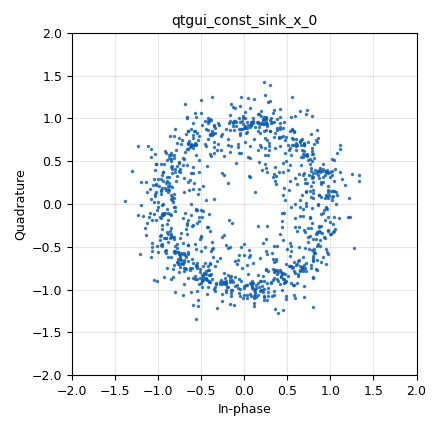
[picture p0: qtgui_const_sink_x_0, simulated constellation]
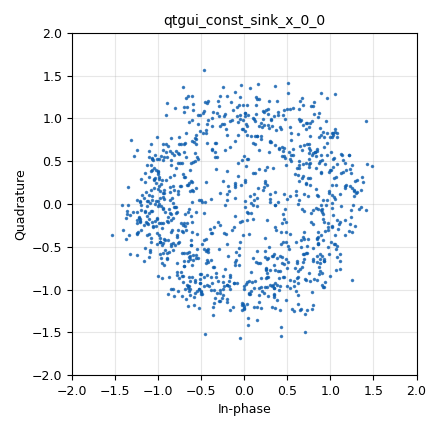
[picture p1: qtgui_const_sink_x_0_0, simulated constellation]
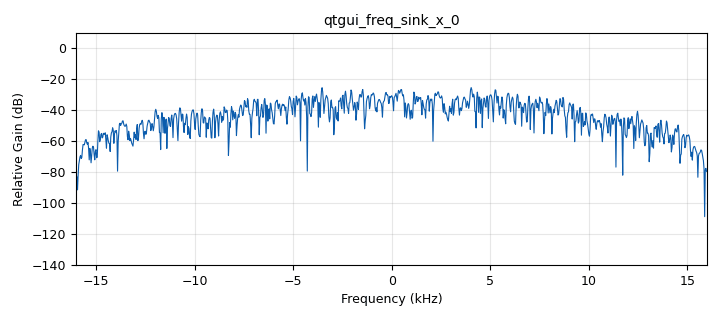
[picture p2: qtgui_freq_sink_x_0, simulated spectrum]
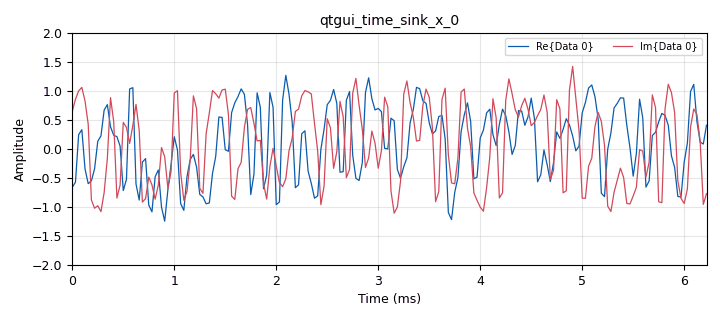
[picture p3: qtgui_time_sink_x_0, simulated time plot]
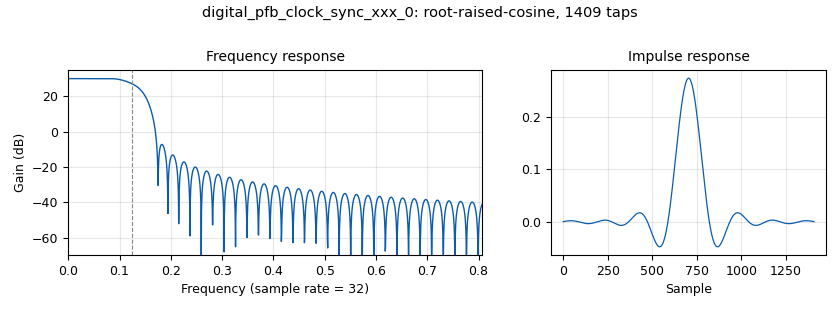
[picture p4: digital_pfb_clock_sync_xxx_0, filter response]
options:
  parameters:
    author: Barry Duggan
    category: Custom
    generate_options: qt_gui
    id: qpsk_stage3
    output_language: python
    title: qpsk_stage3
  states: {}

blocks:
- name: excess_bw
  id: variable
  parameters:
    value: '0.35'
  states: {}
- name: freq_offset
  id: variable_qtgui_range
  parameters:
    gui_hint: 0,2,1,1
    label: 'Channel: Frequency Offset'
    start: '-0.1'
    step: '0.001'
    stop: '0.1'
    value: '0.025'
  states: {}
- name: nfilts
  id: variable
  parameters:
    value: '32'
  states: {}
- name: noise_volt
  id: variable_qtgui_range
  parameters:
    gui_hint: 0,0,1,1
    label: 'Channel: Noise Voltage'
    start: '0'
    step: '0.01'
    stop: '1'
    value: '0.2'
  states: {}
- name: phase_bw
  id: variable
  parameters:
    value: '0.0628'
  states: {}
- name: qpsk
  id: variable_constellation_rect
  parameters:
    const_points: '[0.707+0.707j, -0.707+0.707j, -0.707-0.707j, 0.707-0.707j]'
    imag_sect: '2'
    real_sect: '2'
    rot_sym: '4'
    sym_map: '[0, 1, 2, 3]'
    w_imag_sect: '1'
    w_real_sect: '1'
  states: {}
- name: rrc_taps
  id: variable
  parameters:
    value: firdes.root_raised_cosine(nfilts, nfilts, 1.0/float(sps), 0.35, 11*sps*nfilts)
  states: {}
- name: samp_rate
  id: variable
  parameters:
    value: '32000'
  states: {}
- name: sps
  id: variable
  parameters:
    value: '4'
  states: {}
- name: time_offset
  id: variable_qtgui_range
  parameters:
    gui_hint: 0,1,1,1
    label: 'Channel: Timing Offset'
    start: '0.999'
    step: '0.0001'
    stop: '1.001'
    value: '1.0005'
  states: {}
- name: analog_random_source_x_0
  id: analog_random_source_x
  parameters:
    max: '256'
    min: '0'
    num_samps: '10000'
    repeat: 'True'
    type: byte
  states: {}
- name: blocks_throttle2_0
  id: blocks_throttle2
  parameters:
    samples_per_second: samp_rate
    type: complex
  states: {}
- name: channels_channel_model_0
  id: channels_channel_model
  parameters:
    comment: |-
      Epsilon is the time offset
      采样定时偏移用于模拟发送器和
      接收器采样时钟之间的不同速率。 
      1.0 没有区别。
    epsilon: time_offset
    freq_offset: freq_offset
    noise_voltage: noise_volt
    seed: '0'
    taps: '1'
  states: {}
- name: digital_constellation_modulator_0
  id: digital_constellation_modulator
  parameters:
    constellation: qpsk
    differential: 'True'
    excess_bw: excess_bw
    samples_per_symbol: sps
  states: {}
- name: digital_pfb_clock_sync_xxx_0
  id: digital_pfb_clock_sync_xxx
  parameters:
    comment: |-
      1）环路带宽：环路带宽用于设置内部控制环路的增益，
      该值应设置得较小（这里使用 2pi/100 左右的值作为单
      位圆周围相对于误差移动的弧度数的步长）
      .
      2）初始阶段：指的是算法最初查看的滤波器路径（这里从中间开始）
      .
      3）最大速率偏差：限制速率可以帮助防止算法在没有信号的情况下
      走得太远而无法锁定
      .
      4）输出SPS：默认情况下，该算法为每个符号生成 1 个样本，以精确的样本值进行采样。
      添加此 osps 值是为了更好地与均衡器配合使用，如果均衡器具有 2 个采样/符号，则可以更好地对通道进行建模。
    filter_size: nfilts
    init_phase: nfilts/2
    loop_bw: phase_bw
    max_dev: '1.5'
    osps: '2'
    sps: sps
    taps: rrc_taps
    type: ccf
  states: {}
- name: qtgui_const_sink_x_0
  id: qtgui_const_sink_x
  parameters:
    gui_hint: 1,2,1,2
    name: ''
    size: '1024'
    type: complex
  states: {}
- name: qtgui_const_sink_x_0_0
  id: qtgui_const_sink_x
  parameters:
    color1: '"green"'
    gui_hint: 2,2,1,2
    name: ''
    size: '1024'
    type: complex
  states: {}
- name: qtgui_freq_sink_x_0
  id: qtgui_freq_sink_x
  parameters:
    bw: samp_rate
    fc: '0'
    fftsize: '1024'
    gui_hint: 2,0,1,2
    name: ''
    showports: 'True'
    type: complex
    width1: '2'
  states: {}
- name: qtgui_time_sink_x_0
  id: qtgui_time_sink_x
  parameters:
    gui_hint: 1,0,1,2
    label1: ''
    label2: ''
    name: ''
    size: '200'
    srate: samp_rate
    type: complex
    ymax: '2'
    ymin: '-2'
  states: {}
- name: virtual_sink_0
  id: virtual_sink
  parameters:
    stream_id: src
  states: {}
- name: virtual_source_0
  id: virtual_source
  parameters:
    stream_id: src
  states: {}

connections:
- [analog_random_source_x_0, '0', digital_constellation_modulator_0, '0']
- [blocks_throttle2_0, '0', channels_channel_model_0, '0']
- [channels_channel_model_0, '0', digital_pfb_clock_sync_xxx_0, '0']
- [channels_channel_model_0, '0', virtual_sink_0, '0']
- [digital_constellation_modulator_0, '0', blocks_throttle2_0, '0']
- [digital_pfb_clock_sync_xxx_0, '0', qtgui_const_sink_x_0, '0']
- [digital_pfb_clock_sync_xxx_0, '0', qtgui_freq_sink_x_0, '0']
- [digital_pfb_clock_sync_xxx_0, '0', qtgui_time_sink_x_0, '0']
- [virtual_source_0, '0', qtgui_const_sink_x_0_0, '0']

metadata:
  file_format: 1
  grc_version: 3.10.9.2
